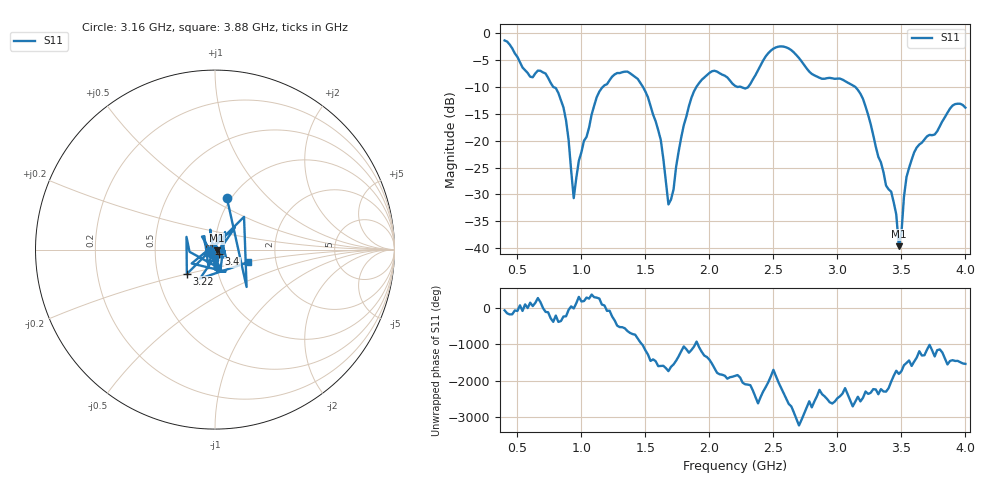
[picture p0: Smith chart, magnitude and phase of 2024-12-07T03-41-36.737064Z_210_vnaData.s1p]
!Created with skrf (http://scikit-rf.org).
# Hz S RI R 50.0
!freq ReS11 ImS11
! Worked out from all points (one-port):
!   181 points, 400 MHz to 4 GHz, reference 50 ohm
!   lowest |S11| = -39.6 dB at 3.48 GHz (marker M1), VSWR 1.02, Z = 51 - j0.325 ohm
!   |S11| at or under -10 dB: 779.2 MHz to 1.169 GHz (389.4 MHz wide, 40 % of centre); 1.48 GHz to 1.899 GHz (418.9 MHz wide, 24.8 % of centre); 3.138 GHz to end of sweep (the widest 3 of 5)
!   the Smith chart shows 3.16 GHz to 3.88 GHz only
!   S11 on the Smith chart (normalised r, x): 3.16 GHz: 0.96, +0.60; 3.22 GHz: 0.71, -0.20; 3.4 GHz: 1.05, -0.06; 3.88 GHz: 1.44, -0.21
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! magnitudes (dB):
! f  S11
! 400 MHz  -1.4
! 600 MHz  -8.1
! 720 MHz  -7.5
! 860 MHz  -13.8
! 900 MHz  -19.9
! 940 MHz  -30.7
! 980 MHz  -23.7
! 1.12 GHz  -11.9
! 1.3 GHz  -7.5
! 1.52 GHz  -11.9
! 1.62 GHz  -19.8
! 1.68 GHz  -31.8
! 1.76 GHz  -22.0
! 1.86 GHz  -12.0
! 1.94 GHz  -8.7
! 2.2 GHz  -9.8
! 2.3 GHz  -10.1
! 2.5 GHz  -2.9
! 2.66 GHz  -3.6
! 3.1 GHz  -9.5
! 3.16 GHz  -10.6
! 3.22 GHz  -13.7
! 3.4 GHz  -29.0
! 3.46 GHz  -33.7
! 3.48 GHz  -39.6
! 3.56 GHz  -25.1
! 3.88 GHz  -14.0
! 4 GHz  -13.9
